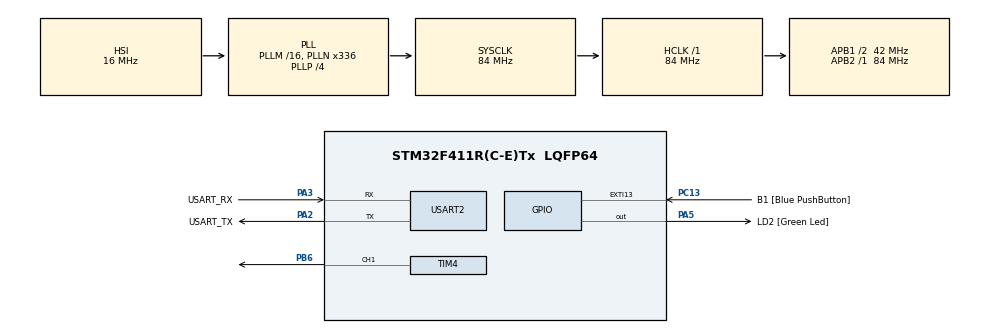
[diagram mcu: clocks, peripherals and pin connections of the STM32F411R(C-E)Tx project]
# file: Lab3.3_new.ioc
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Mcu.Family=STM32F4
Mcu.Name=STM32F411R(C-E)Tx
Mcu.Package=LQFP64
NVIC.PriorityGroup=NVIC_PRIORITYGROUP_0
NVIC.TIM3_IRQn=true\:0\:0\:false\:false\:true\:true\:true\:true
NVIC.TIM4_IRQn=true\:0\:0\:false\:false\:true\:true\:true\:true
NVIC.TIM5_IRQn=true\:0\:0\:false\:false\:true\:true\:true\:true
PA13.GPIO_Label=TMS
PA13.Mode=Serial_Wire
PA13.Signal=SYS_JTMS-SWDIO
PA14.GPIO_Label=TCK
PA14.Mode=Serial_Wire
PA14.Signal=SYS_JTCK-SWCLK
PA2.GPIO_Label=USART_TX
PA2.Mode=Asynchronous
PA2.Signal=USART2_TX
PA3.GPIO_Label=USART_RX
PA3.Mode=Asynchronous
PA3.Signal=USART2_RX
PA5.GPIO_Label=LD2 [Green Led]
PA5.Signal=GPIO_Output
PB3.GPIO_Label=SWO
PB3.Signal=SYS_JTDO-SWO
PB6.Signal=S_TIM4_CH1
PC13-ANTI_TAMP.GPIO_Label=B1 [Blue PushButton]
PC13-ANTI_TAMP.GPIO_ModeDefaultEXTI=GPIO_MODE_IT_FALLING
PC13-ANTI_TAMP.Signal=GPXTI13
PC14-OSC32_IN.Mode=LSE-External-Oscillator
PC14-OSC32_IN.Signal=RCC_OSC32_IN
PC15-OSC32_OUT.Mode=LSE-External-Oscillator
PC15-OSC32_OUT.Signal=RCC_OSC32_OUT
PH0\ -\ OSC_IN.Mode=HSE-External-Clock-Source
PH0\ -\ OSC_IN.Signal=RCC_OSC_IN
PH1\ -\ OSC_OUT.Mode=HSE-External-Clock-Source
PH1\ -\ OSC_OUT.Signal=RCC_OSC_OUT
ProjectManager.HeapSize=0x200
ProjectManager.StackSize=0x400
ProjectManager.TargetToolchain=STM32CubeIDE
RCC.48MHZClocksFreq_Value=84000000
RCC.AHBFreq_Value=84000000
RCC.APB1CLKDivider=RCC_HCLK_DIV2
RCC.APB1Freq_Value=42000000
RCC.APB1TimFreq_Value=84000000
RCC.APB2Freq_Value=84000000
RCC.APB2TimFreq_Value=84000000
RCC.CortexFreq_Value=84000000
RCC.FLatency-AdvancedSettings=FLASH_LATENCY_2
RCC.HCLKFreq_Value=84000000
RCC.HSE_VALUE=8000000
RCC.HSI_VALUE=16000000
RCC.PLLN=336
RCC.PLLP=RCC_PLLP_DIV4
RCC.SYSCLKFreq_VALUE=84000000
RCC.SYSCLKSource=RCC_SYSCLKSOURCE_PLLCLK
RCC.VCOOutputFreq_Value=336000000
SH.S_TIM4_CH1.0=TIM4_CH1,PWM Generation1 CH1
TIM3.AutoReloadPreload=TIM_AUTORELOAD_PRELOAD_ENABLE
TIM3.Period=999
TIM3.Prescaler=49999
TIM4.AutoReloadPreload=TIM_AUTORELOAD_PRELOAD_ENABLE
TIM4.Channel-PWM\ Generation1\ CH1=TIM_CHANNEL_1
TIM4.Period=980
TIM4.Prescaler=49999
TIM4.Pulse-PWM\ Generation1\ CH1=491
TIM5.AutoReloadPreload=TIM_AUTORELOAD_PRELOAD_ENABLE
TIM5.Period=1999
TIM5.Prescaler=49999
USART2.VirtualMode=VM_ASYNC
VP_TIM3_VS_ClockSourceINT.Mode=Internal
VP_TIM4_VS_ClockSourceINT.Mode=Internal
VP_TIM5_VS_ClockSourceINT.Mode=Internal
board=NUCLEO-F411RE

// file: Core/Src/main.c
/* USER CODE BEGIN Header */
/**
  ******************************************************************************
  * @file           : main.c
  * @brief          : Main program body
  ******************************************************************************
  * @attention
  *
  * Copyright (c) 2024 STMicroelectronics.
  * All rights reserved.
  *
  * This software is licensed under terms that can be found in the LICENSE file
  * in the root directory of this software component.
  * If no LICENSE file comes with this software, it is provided AS-IS.
  *
  ******************************************************************************
  */
/* USER CODE END Header */
#include "main.h"

TIM_HandleTypeDef htim3;
TIM_HandleTypeDef htim4;
TIM_HandleTypeDef htim5;

UART_HandleTypeDef huart2;

void SystemClock_Config(void);
static void MX_GPIO_Init(void);
static void MX_USART2_UART_Init(void);
static void MX_TIM4_Init(void);
static void MX_TIM3_Init(void);
static void MX_TIM5_Init(void);

/* USER CODE BEGIN 0 */
int internalLEDCount = 0;
int externalLEDCount = 0;
void HAL_TIM_PeriodElapsedCallback(TIM_HandleTypeDef *htim) {
	if(htim == &htim3) {
		HAL_GPIO_TogglePin(GPIOA, GPIO_PIN_5);
		internalLEDCount += 1;
	} else if(htim == &htim4) {
		externalLEDCount += 1;
	} else if(htim == &htim5) {
		int currentTime = HAL_GetTick();
		char *message = (char*) malloc(sizeof(char) * 100);
		sprintf(message, "Time: %d, internal= %d, external= %d\r\n", currentTime, internalLEDCount, externalLEDCount);
		HAL_UART_Transmit(&huart2, message, strlen(message), 100);
		free(message);
	}
}
/* USER CODE END 0 */

int main(void)
{

  /* MCU Configuration--------------------------------------------------------*/

  /* Reset of all peripherals, Initializes the Flash interface and the Systick. */
  HAL_Init();

  /* Configure the system clock */
  SystemClock_Config();

  /* Initialize all configured peripherals */
  MX_GPIO_Init();
  MX_USART2_UART_Init();
  MX_TIM4_Init();
  MX_TIM3_Init();
  MX_TIM5_Init();
  /* USER CODE BEGIN 2 */
  HAL_TIM_Base_Start_IT(&htim3);
  HAL_TIM_Base_Start_IT(&htim4);
  HAL_TIM_PWM_Start(&htim4, TIM_CHANNEL_1);
  HAL_TIM_Base_Start_IT(&htim5);

  /* USER CODE END 2 */

  /* Infinite loop */
  while (1)
  {

  }
}

void SystemClock_Config(void)
{
  RCC_OscInitTypeDef RCC_OscInitStruct = {0};
  RCC_ClkInitTypeDef RCC_ClkInitStruct = {0};

  /** Configure the main internal regulator output voltage
  */
  __HAL_RCC_PWR_CLK_ENABLE();
  __HAL_PWR_VOLTAGESCALING_CONFIG(PWR_REGULATOR_VOLTAGE_SCALE1);

  /** Initializes the RCC Oscillators according to the specified parameters
  * in the RCC_OscInitTypeDef structure.
  */
  RCC_OscInitStruct.OscillatorType = RCC_OSCILLATORTYPE_HSI;
  RCC_OscInitStruct.HSIState = RCC_HSI_ON;
  RCC_OscInitStruct.HSICalibrationValue = RCC_HSICALIBRATION_DEFAULT;
  RCC_OscInitStruct.PLL.PLLState = RCC_PLL_ON;
  RCC_OscInitStruct.PLL.PLLSource = RCC_PLLSOURCE_HSI;
  RCC_OscInitStruct.PLL.PLLM = 16;
  RCC_OscInitStruct.PLL.PLLN = 336;
  RCC_OscInitStruct.PLL.PLLP = RCC_PLLP_DIV4;
  RCC_OscInitStruct.PLL.PLLQ = 4;
  if (HAL_RCC_OscConfig(&RCC_OscInitStruct) != HAL_OK)
  {
    Error_Handler();
  }

  /** Initializes the CPU, AHB and APB buses clocks
  */
  RCC_ClkInitStruct.ClockType = RCC_CLOCKTYPE_HCLK|RCC_CLOCKTYPE_SYSCLK
                              |RCC_CLOCKTYPE_PCLK1|RCC_CLOCKTYPE_PCLK2;
  RCC_ClkInitStruct.SYSCLKSource = RCC_SYSCLKSOURCE_PLLCLK;
  RCC_ClkInitStruct.AHBCLKDivider = RCC_SYSCLK_DIV1;
  RCC_ClkInitStruct.APB1CLKDivider = RCC_HCLK_DIV2;
  RCC_ClkInitStruct.APB2CLKDivider = RCC_HCLK_DIV1;

  if (HAL_RCC_ClockConfig(&RCC_ClkInitStruct, FLASH_LATENCY_2) != HAL_OK)
  {
    Error_Handler();
  }
}

static void MX_TIM3_Init(void)
{

  TIM_ClockConfigTypeDef sClockSourceConfig = {0};
  TIM_MasterConfigTypeDef sMasterConfig = {0};

  htim3.Instance = TIM3;
  htim3.Init.Prescaler = 49999;
  htim3.Init.CounterMode = TIM_COUNTERMODE_UP;
  htim3.Init.Period = 999;
  htim3.Init.ClockDivision = TIM_CLOCKDIVISION_DIV1;
  htim3.Init.AutoReloadPreload = TIM_AUTORELOAD_PRELOAD_ENABLE;
  if (HAL_TIM_Base_Init(&htim3) != HAL_OK)
  {
    Error_Handler();
  }
  sClockSourceConfig.ClockSource = TIM_CLOCKSOURCE_INTERNAL;
  if (HAL_TIM_ConfigClockSource(&htim3, &sClockSourceConfig) != HAL_OK)
  {
    Error_Handler();
  }
  sMasterConfig.MasterOutputTrigger = TIM_TRGO_RESET;
  sMasterConfig.MasterSlaveMode = TIM_MASTERSLAVEMODE_DISABLE;
  if (HAL_TIMEx_MasterConfigSynchronization(&htim3, &sMasterConfig) != HAL_OK)
  {
    Error_Handler();
  }

}

static void MX_TIM4_Init(void)
{

  TIM_ClockConfigTypeDef sClockSourceConfig = {0};
  TIM_MasterConfigTypeDef sMasterConfig = {0};
  TIM_OC_InitTypeDef sConfigOC = {0};

  htim4.Instance = TIM4;
  htim4.Init.Prescaler = 49999;
  htim4.Init.CounterMode = TIM_COUNTERMODE_UP;
  htim4.Init.Period = 980;
  htim4.Init.ClockDivision = TIM_CLOCKDIVISION_DIV1;
  htim4.Init.AutoReloadPreload = TIM_AUTORELOAD_PRELOAD_ENABLE;
  if (HAL_TIM_Base_Init(&htim4) != HAL_OK)
  {
    Error_Handler();
  }
  sClockSourceConfig.ClockSource = TIM_CLOCKSOURCE_INTERNAL;
  if (HAL_TIM_ConfigClockSource(&htim4, &sClockSourceConfig) != HAL_OK)
  {
    Error_Handler();
  }
  if (HAL_TIM_PWM_Init(&htim4) != HAL_OK)
  {
    Error_Handler();
  }
  sMasterConfig.MasterOutputTrigger = TIM_TRGO_RESET;
  sMasterConfig.MasterSlaveMode = TIM_MASTERSLAVEMODE_DISABLE;
  if (HAL_TIMEx_MasterConfigSynchronization(&htim4, &sMasterConfig) != HAL_OK)
  {
    Error_Handler();
  }
  sConfigOC.OCMode = TIM_OCMODE_PWM1;
  sConfigOC.Pulse = 491;
  sConfigOC.OCPolarity = TIM_OCPOLARITY_HIGH;
  sConfigOC.OCFastMode = TIM_OCFAST_DISABLE;
  if (HAL_TIM_PWM_ConfigChannel(&htim4, &sConfigOC, TIM_CHANNEL_1) != HAL_OK)
  {
    Error_Handler();
  }
  HAL_TIM_MspPostInit(&htim4);

}

static void MX_TIM5_Init(void)
{

  TIM_ClockConfigTypeDef sClockSourceConfig = {0};
  TIM_MasterConfigTypeDef sMasterConfig = {0};

  htim5.Instance = TIM5;
  htim5.Init.Prescaler = 49999;
  htim5.Init.CounterMode = TIM_COUNTERMODE_UP;
  htim5.Init.Period = 1999;
  htim5.Init.ClockDivision = TIM_CLOCKDIVISION_DIV1;
  htim5.Init.AutoReloadPreload = TIM_AUTORELOAD_PRELOAD_ENABLE;
  if (HAL_TIM_Base_Init(&htim5) != HAL_OK)
  {
    Error_Handler();
  }
  sClockSourceConfig.ClockSource = TIM_CLOCKSOURCE_INTERNAL;
  if (HAL_TIM_ConfigClockSource(&htim5, &sClockSourceConfig) != HAL_OK)
  {
    Error_Handler();
  }
  sMasterConfig.MasterOutputTrigger = TIM_TRGO_RESET;
  sMasterConfig.MasterSlaveMode = TIM_MASTERSLAVEMODE_DISABLE;
  if (HAL_TIMEx_MasterConfigSynchronization(&htim5, &sMasterConfig) != HAL_OK)
  {
    Error_Handler();
  }

}

static void MX_USART2_UART_Init(void)
{

  huart2.Instance = USART2;
  huart2.Init.BaudRate = 115200;
  huart2.Init.WordLength = UART_WORDLENGTH_8B;
  huart2.Init.StopBits = UART_STOPBITS_1;
  huart2.Init.Parity = UART_PARITY_NONE;
  huart2.Init.Mode = UART_MODE_TX_RX;
  huart2.Init.HwFlowCtl = UART_HWCONTROL_NONE;
  huart2.Init.OverSampling = UART_OVERSAMPLING_16;
  if (HAL_UART_Init(&huart2) != HAL_OK)
  {
    Error_Handler();
  }

}

static void MX_GPIO_Init(void)
{
  GPIO_InitTypeDef GPIO_InitStruct = {0};

  /* GPIO Ports Clock Enable */
  __HAL_RCC_GPIOC_CLK_ENABLE();
  __HAL_RCC_GPIOH_CLK_ENABLE();
  __HAL_RCC_GPIOA_CLK_ENABLE();
  __HAL_RCC_GPIOB_CLK_ENABLE();

  /*Configure GPIO pin Output Level */
  HAL_GPIO_WritePin(LD2_GPIO_Port, LD2_Pin, GPIO_PIN_RESET);

  /*Configure GPIO pin : B1_Pin */
  GPIO_InitStruct.Pin = B1_Pin;
  GPIO_InitStruct.Mode = GPIO_MODE_IT_FALLING;
  GPIO_InitStruct.Pull = GPIO_NOPULL;
  HAL_GPIO_Init(B1_GPIO_Port, &GPIO_InitStruct);

  /*Configure GPIO pin : LD2_Pin */
  GPIO_InitStruct.Pin = LD2_Pin;
  GPIO_InitStruct.Mode = GPIO_MODE_OUTPUT_PP;
  GPIO_InitStruct.Pull = GPIO_NOPULL;
  GPIO_InitStruct.Speed = GPIO_SPEED_FREQ_LOW;
  HAL_GPIO_Init(LD2_GPIO_Port, &GPIO_InitStruct);

}

void Error_Handler(void)
{
  __disable_irq();
  while (1)
  {
  }
}
